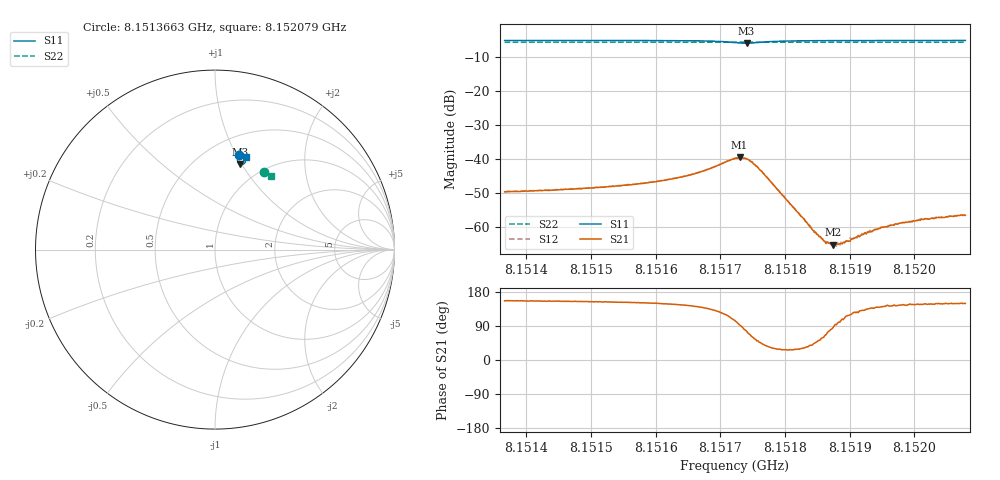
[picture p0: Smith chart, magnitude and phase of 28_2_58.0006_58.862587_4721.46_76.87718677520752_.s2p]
#  HZ  S  RI  R  50.00
! Rohde & Schwarz Vector Network Analyzer
! Rohde-Schwarz,ZNB20-2Port,1311601062101988,3.16
! Created: UTC 3/21/2024, 12:51:28 AM
! freq[Hz]  re:S11  im:S11  re:S21  im:S21  re:S12  im:S12  re:S22  im:S22
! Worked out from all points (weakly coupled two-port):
!   401 points, 8.1513663 GHz to 8.152079 GHz, reference 50 ohm
!   highest |S21| = -39.53 dB at 8.1517298 GHz (marker M1); lowest = -65.1 dB at 8.1518741 GHz (marker M2)
!   lowest |S11| = -6.1 dB at 8.1517405 GHz (marker M3), VSWR 2.96, Z = 39.1 + j49.2 ohm
!   |S11| at or under -10 dB: nowhere
!   |S22| runs from -5.8 to -5.8 dB; largest |S21 - S12| = 0.00035
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8.1513663e9  0.1327 0.5274  -0.00302 0.00134  -0.00304 0.00138  0.2746 0.4347
8.15148567e9  0.1428 0.5247  -0.0033 0.00158  -0.00335 0.00165  0.2811 0.4303
8.15156229e9  0.1502 0.522  -0.00371 0.00197  -0.00371 0.00208  0.2851 0.4275
8.15160505e9  0.1554 0.5196  -0.00406 0.00243  -0.00406 0.00251  0.2875 0.4257
8.15163712e9  0.16 0.5166  -0.00444 0.00302  -0.00445 0.0031  0.2892 0.4244
8.15166207e9  0.1644 0.5126  -0.00482 0.00388  -0.00479 0.00395  0.2905 0.4234
8.15172265e9  0.1627 0.4798  -0.00243 0.00983  -0.00227 0.0101  0.293 0.4199
8.15172978e9  0.1549 0.4753  -0.000459 0.0106  -0.0003 0.0105  0.2931 0.4197
8.15174047e9  0.14 0.4754  0.0024 0.0098  0.00273 0.00972  0.2929 0.4196
8.15175116e9  0.1285 0.4844  0.0044 0.00723  0.00466 0.00745  0.2931 0.4197
8.15176541e9  0.1254 0.4992  0.00469 0.00423  0.00479 0.00421  0.2941 0.4197
8.15182599e9  0.1427 0.5189  0.00123 0.00072  0.00121 0.00073  0.2981 0.4179
8.15184203e9  0.1463 0.5197  0.000716 0.000587  0.000731 0.00061  0.299 0.4173
8.15185985e9  0.1493 0.52  0.000316 0.000549  0.000304 0.000588  0.3 0.4165
8.1518741e9  0.1515 0.52  4.84e-05 0.000555  4.2e-05 0.000584  0.3007 0.416
8.15188123e9  0.1527 0.5201  -7.04e-05 0.000565  -6.98e-05 0.000594  0.3011 0.4157
8.15188836e9  0.1536 0.5199  -0.000178 0.000544  -0.000155 0.000552  0.3016 0.4155
8.15192221e9  0.1578 0.5195  -0.000527 0.000605  -0.000535 0.000616  0.3033 0.4141
8.15194181e9  0.1598 0.5194  -0.000711 0.000606  -0.000689 0.000616  0.3043 0.4134
8.15196141e9  0.1618 0.5188  -0.000834 0.000645  -0.000839 0.000648  0.3054 0.4125
8.15201486e9  0.1666 0.518  -0.0011 0.000704  -0.0011 0.000738  0.3081 0.4105
8.152079e9  0.1721 0.5165  -0.00128 0.000767  -0.00129 0.000816  0.3114 0.4079
